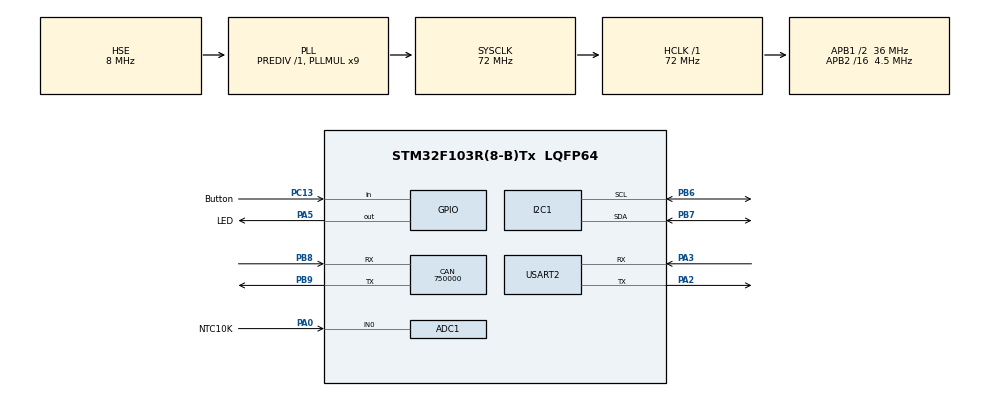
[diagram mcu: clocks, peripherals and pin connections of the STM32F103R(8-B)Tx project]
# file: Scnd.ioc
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Mcu.Family=STM32F1
NVIC.ADC1_2_IRQn=true\:0\:0\:false\:false\:true\:true\:true
Dma.ADC1.1.MemDataAlignment=DMA_MDATAALIGN_HALFWORD
NVIC.I2C1_EV_IRQn=true\:0\:0\:false\:false\:true\:true\:true
ADC1.ContinuousConvMode=ENABLE
VP_RTC_VS_RTC_Activate.Mode=RTC_Enabled
PA5.PinState=GPIO_PIN_SET
RCC.SYSCLKSource=RCC_SYSCLKSOURCE_PLLCLK
ProjectManager.StackSize=0x400
PD1-OSC_OUT.Signal=RCC_OSC_OUT
VP_RTC_No_RTC_Output.Mode=RTC_OUT_NO
Dma.USART2_RX.0.Priority=DMA_PRIORITY_LOW
Dma.ADC1.1.Instance=DMA1_Channel1
Dma.USART2_RX.0.PeriphDataAlignment=DMA_PDATAALIGN_BYTE
RCC.HCLKFreq_Value=72000000
RCC.APB2TimFreq_Value=9000000
PB6.Signal=I2C1_SCL
Dma.ADC1.1.PeriphDataAlignment=DMA_PDATAALIGN_HALFWORD
PB6.Mode=I2C
RCC.HSICalibrationValue=16
RCC.AHBFreq_Value=72000000
RCC.PLLMUL=RCC_PLL_MUL9
Dma.USART2_RX.0.MemDataAlignment=DMA_MDATAALIGN_BYTE
PA14.Mode=Serial_Wire
PA5.GPIO_PuPd=GPIO_PULLDOWN
Dma.USART2_RX.0.Instance=DMA1_Channel6
Dma.ADC1.1.Priority=DMA_PRIORITY_LOW
PB7.Signal=I2C1_SDA
Dma.ADC1.1.Mode=DMA_CIRCULAR
SH.ADCx_IN0.0=ADC1_IN0,IN0
NVIC.I2C1_ER_IRQn=true\:0\:0\:false\:false\:true\:true\:true
CAN.CalculateTimeQuantum=444.44444444444446
Mcu.Package=LQFP64
PB9.Signal=CAN_TX
Dma.USART2_RX.0.PeriphInc=DMA_PINC_DISABLE
USART2.VirtualMode=VM_ASYNC
Dma.ADC1.1.Direction=DMA_PERIPH_TO_MEMORY
PC13-TAMPER-RTC.GPIO_PuPd=GPIO_PULLUP
Dma.ADC1.1.MemInc=DMA_MINC_ENABLE
VP_RTC_VS_RTC_Calendar.Mode=RTC_Calendar
RCC.APB2CLKDivider=RCC_HCLK_DIV16
Dma.Request1=ADC1
RCC.APB1TimFreq_Value=72000000
Dma.Request0=USART2_RX
NVIC.RCC_IRQn=true\:0\:0\:false\:false\:true\:true\:false
PA3.Signal=USART2_RX
RCC.PLLSourceVirtual=RCC_PLLSOURCE_HSE
NVIC.DMA1_Channel6_IRQn=true\:0\:0\:false\:false\:true\:false\:true
PD1-OSC_OUT.Mode=HSE-External-Oscillator
CAN.CalculateBaudRate=750000
Dma.USART2_RX.0.Direction=DMA_PERIPH_TO_MEMORY
PC13-TAMPER-RTC.Signal=GPIO_Input
RCC.USBPrescaler=RCC_USBCLKSOURCE_PLL_DIV1_5
PD0-OSC_IN.Signal=RCC_OSC_IN
RCC.APB1CLKDivider=RCC_HCLK_DIV2
NVIC.USART2_IRQn=true\:0\:0\:false\:false\:true\:true\:true
CAN.CalculateTimeBit=1333.33
PA0-WKUP.GPIO_Label=NTC10K
PA0-WKUP.Signal=ADCx_IN0
Dma.USART2_RX.0.Mode=DMA_CIRCULAR
RCC.ADCPresc=RCC_ADCPCLK2_DIV8
PA13.Signal=SYS_JTMS-SWDIO
PA3.Mode=Asynchronous
ProjectManager.TargetToolchain=Makefile
PB9.Mode=CAN_Activate
ADC1.Channel-1\#ChannelRegularConversion=ADC_CHANNEL_0
RCC.USBFreq_Value=48000000
PD0-OSC_IN.Mode=HSE-External-Oscillator
PA5.Signal=GPIO_Output
board=custom
PC13-TAMPER-RTC.GPIO_Label=Button
RCC.APB2Freq_Value=4500000
NVIC.USB_LP_CAN1_RX0_IRQn=true\:0\:0\:false\:false\:true\:false\:true
Dma.ADC1.1.PeriphInc=DMA_PINC_DISABLE
ADC1.NbrOfConversion=1
PA13.Mode=Serial_Wire
Mcu.Name=STM32F103R(8-B)Tx
Dma.USART2_RX.0.MemInc=DMA_MINC_ENABLE
PA2.Signal=USART2_TX
ADC1.SamplingTime-1\#ChannelRegularConversion=ADC_SAMPLETIME_13CYCLES_5
RCC.SYSCLKFreq_VALUE=72000000
ADC1.master=1
PA5.GPIO_Label=LED
ADC1.Rank-1\#ChannelRegularConversion=1
PB7.Mode=I2C
PA14.Signal=SYS_JTCK-SWCLK
ProjectManager.HeapSize=0x200
NVIC.PriorityGroup=NVIC_PRIORITYGROUP_4
ADC1.NbrOfConversionFlag=1
PB8.Mode=CAN_Activate
PB8.Signal=CAN_RX
PA2.Mode=Asynchronous
NVIC.DMA1_Channel1_IRQn=true\:0\:0\:false\:false\:true\:false\:true
RCC.APB1Freq_Value=36000000
VP_CRC_VS_CRC.Mode=CRC_Activate

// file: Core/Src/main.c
/* USER CODE BEGIN Header */
/**
  ******************************************************************************
  * @file           : main.c
  * @brief          : Main program body
  ******************************************************************************
  * @attention
  *
  * <h2><center>&copy; Copyright (c) 2021 STMicroelectronics.
  * All rights reserved.</center></h2>
  *
  * This software component is licensed by ST under Ultimate Liberty license
  * SLA0044, the "License"; You may not use this file except in compliance with
  * the License. You may obtain a copy of the License at:
  *                             www.st.com/SLA0044
  *
  ******************************************************************************
  */
/* USER CODE END Header */
#include "main.h"
#include "adc.h"
#include "can.h"
#include "crc.h"
#include "dma.h"
#include "i2c.h"
#include "rtc.h"
#include "usart.h"
#include "gpio.h"

/* USER CODE BEGIN PV */
const uint16_t BME_ADDR = (0x76 << 1);
/* USER CODE END PV */

void SystemClock_Config(void);
/* USER CODE BEGIN PFP */
double getTempInCelsius(uint16_t raw);
double getTempInKelvin(uint16_t raw);
/* USER CODE END PFP */

/* USER CODE BEGIN 0 */
uint8_t myTxData[13] = "Hello World\r\n";
uint8_t myRxData[11];
uint32_t raw;
char msg[16];
/* USER CODE END 0 */

int main(void)
{

  /* MCU Configuration--------------------------------------------------------*/

  /* Reset of all peripherals, Initializes the Flash interface and the Systick. */
  HAL_Init();

  /* Configure the system clock */
  SystemClock_Config();

  /* Initialize all configured peripherals */
  MX_GPIO_Init();
  MX_DMA_Init();
  MX_CAN_Init();
  MX_CRC_Init();
  MX_I2C1_Init();
  MX_RTC_Init();
  MX_USART2_UART_Init();
  MX_ADC1_Init();
  /* USER CODE BEGIN 2 */
  HAL_UART_Receive_DMA(&huart2, myRxData, 11);
  HAL_ADCEx_Calibration_Start(&hadc1);
  /* USER CODE END 2 */

  /* Infinite loop */
  while (1)
  {

    /* USER CODE BEGIN 3 */
      //HAL_UART_Transmit(&huart2, myTxData, 13, 10);
      /* HAL_ADC_Start_DMA(&hadc1, &raw, 1); */
      //HAL_ADC_PollForConversion(&hadc1, HAL_MAX_DELAY);
      //raw = HAL_ADC_GetValue(&hadc1);
      HAL_StatusTypeDef ret;
      uint8_t buf[2] = {0};
      //ret = HAL_I2C_Mem_Read(&hi2c1, BME_ADDR, 0xD0, 1, buf, 1, HAL_MAX_DELAY);
      char msg2[64] = {0};
      //sprintf(msg2, "0x%x (%d)\r\n", buf[0], ret);
      //HAL_UART_Transmit(&huart2, (uint8_t*)msg2, strlen(msg2), 10);
      buf[0] = 0xd0;
      ret = HAL_I2C_Master_Transmit(&hi2c1, BME_ADDR, buf, 1, HAL_MAX_DELAY);
      if ( ret != HAL_OK ) {
          sprintf(msg2, "UART ERROR\r\n");
          HAL_UART_Transmit(&huart2, (uint8_t*)msg2, strlen(msg2), 10);
      } else {
          buf[0] = 0;
      ret = HAL_I2C_Master_Receive(&hi2c1, BME_ADDR, buf, 1, HAL_MAX_DELAY);
          sprintf(msg2, "0x%x\r\n", buf[0]);
          HAL_UART_Transmit(&huart2, (uint8_t*)msg2, strlen(msg2), 10);
      }
      HAL_Delay(500);
  }
  /* USER CODE END 3 */
}

void SystemClock_Config(void)
{
  RCC_OscInitTypeDef RCC_OscInitStruct = {0};
  RCC_ClkInitTypeDef RCC_ClkInitStruct = {0};
  RCC_PeriphCLKInitTypeDef PeriphClkInit = {0};

  /** Initializes the RCC Oscillators according to the specified parameters
  * in the RCC_OscInitTypeDef structure.
  */
  RCC_OscInitStruct.OscillatorType = RCC_OSCILLATORTYPE_LSI|RCC_OSCILLATORTYPE_HSE;
  RCC_OscInitStruct.HSEState = RCC_HSE_ON;
  RCC_OscInitStruct.HSEPredivValue = RCC_HSE_PREDIV_DIV1;
  RCC_OscInitStruct.HSIState = RCC_HSI_ON;
  RCC_OscInitStruct.LSIState = RCC_LSI_ON;
  RCC_OscInitStruct.PLL.PLLState = RCC_PLL_ON;
  RCC_OscInitStruct.PLL.PLLSource = RCC_PLLSOURCE_HSE;
  RCC_OscInitStruct.PLL.PLLMUL = RCC_PLL_MUL9;
  if (HAL_RCC_OscConfig(&RCC_OscInitStruct) != HAL_OK)
  {
    Error_Handler();
  }
  /** Initializes the CPU, AHB and APB buses clocks
  */
  RCC_ClkInitStruct.ClockType = RCC_CLOCKTYPE_HCLK|RCC_CLOCKTYPE_SYSCLK
                              |RCC_CLOCKTYPE_PCLK1|RCC_CLOCKTYPE_PCLK2;
  RCC_ClkInitStruct.SYSCLKSource = RCC_SYSCLKSOURCE_PLLCLK;
  RCC_ClkInitStruct.AHBCLKDivider = RCC_SYSCLK_DIV1;
  RCC_ClkInitStruct.APB1CLKDivider = RCC_HCLK_DIV2;
  RCC_ClkInitStruct.APB2CLKDivider = RCC_HCLK_DIV16;

  if (HAL_RCC_ClockConfig(&RCC_ClkInitStruct, FLASH_LATENCY_2) != HAL_OK)
  {
    Error_Handler();
  }
  PeriphClkInit.PeriphClockSelection = RCC_PERIPHCLK_RTC|RCC_PERIPHCLK_ADC;
  PeriphClkInit.RTCClockSelection = RCC_RTCCLKSOURCE_LSI;
  PeriphClkInit.AdcClockSelection = RCC_ADCPCLK2_DIV8;
  if (HAL_RCCEx_PeriphCLKConfig(&PeriphClkInit) != HAL_OK)
  {
    Error_Handler();
  }
}

/* USER CODE BEGIN 4 */
void HAL_UART_RxCpltCallback(UART_HandleTypeDef* huart) {
    HAL_UART_Transmit(&huart2, myRxData, 11, 10);
}
double getTempInKelvin(uint16_t raw) {
    double resistance = 10000.0;
    double a = 1.129148e-3;
    double b = 2.34125e-4;
    double c = 8.76741e-8;
    double voltage = raw / 4096 * 3.3;
    double r2 = ((4096*resistance/raw)-resistance);
    double log_r = log(r2);
    double log_3r = log_r * log_r * log_r;
    double K = 9.5;
    double tempInKelvin = (1/(a+b*log_r + c*log_3r))-voltage*voltage/(K*resistance);
    return tempInKelvin;
}
double getTempInCelsius(uint16_t raw) {
    //double tempInCelsius = getTempInKelvin(raw) - 273.15;
    double Vin= 3.3;
    double Vout= 0;
    double R1= 10000; //change to your system
    double Ro= 10000; //change to your system
    double R2= 0;
    double ratio= 0;
    double Temp = 0;
    double Beta = 3950; //change to your system
    double To = 298.15;
    ratio = raw * Vin;
    Vout = (ratio)/4096.0;
    ratio = (Vin/Vout) -1;
    R2 = R1 *ratio;
    Temp = Beta/log(R2/(Ro*exp(-Beta/To)));
    Temp -= 273.15;
	return Temp;
}
void HAL_ADC_ConvCpltCallback(ADC_HandleTypeDef* hadc) {
      sprintf(msg, "%lu\r\n", raw);
      HAL_UART_Transmit(&huart2, (uint8_t*)msg, strlen(msg), 10);
      sprintf(msg, "%4.2fC\r\n", getTempInCelsius(raw));
      HAL_UART_Transmit(&huart2, (uint8_t*)msg, strlen(msg), 10);
      sprintf(msg, "%4.2fK\r\n", getTempInKelvin(raw));
      HAL_UART_Transmit(&huart2, (uint8_t*)msg, strlen(msg), 10);
      HAL_GPIO_TogglePin(GPIOA, GPIO_PIN_5);
}

/* USER CODE END 4 */

void Error_Handler(void)
{
  __disable_irq();
  while (1)
  {
  }
}

/************************ (C) COPYRIGHT STMicroelectronics *****END OF FILE****/
